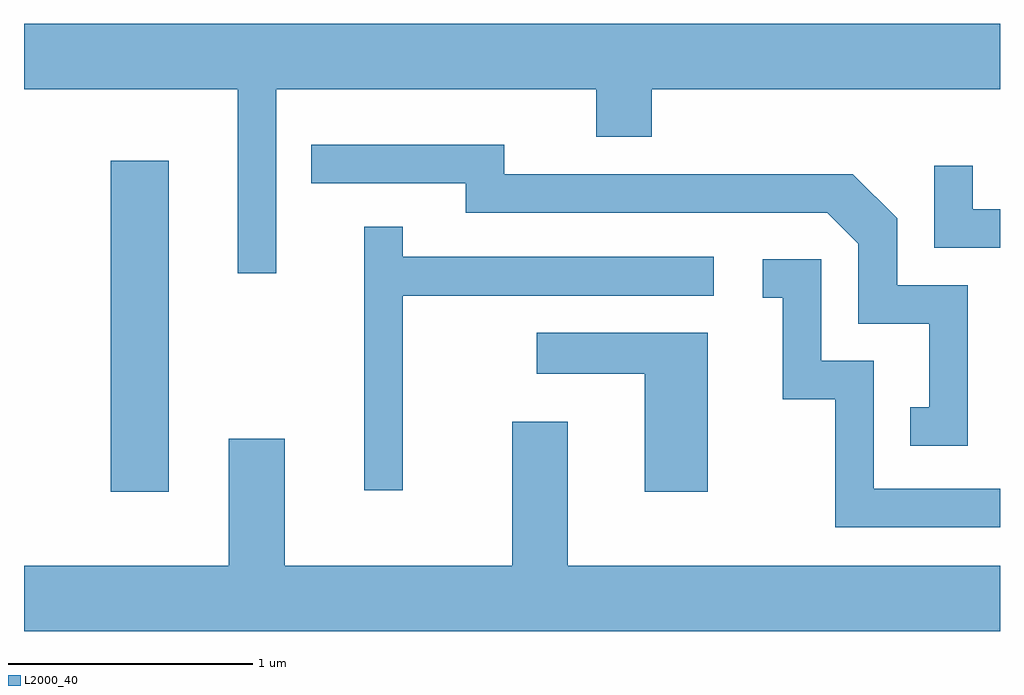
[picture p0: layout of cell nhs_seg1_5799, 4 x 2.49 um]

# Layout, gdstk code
import gdstk
lib = gdstk.Library(unit=1e-6, precision=1e-09)
def R(c, l, rs):  # rectangles x0, y0, x1, y1
    for r in rs: c.add(gdstk.rectangle(r[:2], r[2:], *l))
def P(c, l, *ps):  # polygons
    for p in ps: c.add(gdstk.Polygon(p, *l))
L2000_40 = (2000, 40)

nhs_seg1_5799 = lib.new_cell('nhs_seg1_5799')
R(nhs_seg1_5799, L2000_40, [(359.966,922.346,360.204,923.704)])
P(nhs_seg1_5799, L2000_40, [(360.644,923.996),(361.956,923.996),(361.956,923.801),(362.184,923.801),(362.184,923.996),(363.611,923.996),(363.611,924.264),(359.611,924.264),(359.611,923.996),(360.486,923.996),(360.486,923.243),(360.644,923.243)],
  [(363.479,923.194),(363.189,923.194),(363.189,923.467),(363.007,923.649),(361.579,923.649),(361.579,923.769),(360.788,923.769),(360.788,923.611),(361.421,923.611),(361.421,923.491),(362.904,923.491),(363.031,923.364),(363.031,923.036),(363.321,923.036),(363.321,922.694),(363.243,922.694),(363.243,922.536),(363.479,922.536)],
  [(363.611,923.504),(363.499,923.504),(363.499,923.683),(363.341,923.683),(363.341,923.346),(363.611,923.346)],
  [(361.164,923.151),(362.438,923.151),(362.438,923.309),(361.164,923.309),(361.164,923.433),(361.006,923.433),(361.006,922.353),(361.164,922.353)],
  [(363.611,922.359),(363.094,922.359),(363.094,922.884),(362.879,922.884),(362.879,923.299),(362.638,923.299),(362.638,923.141),(362.721,923.141),(362.721,922.726),(362.936,922.726),(362.936,922.201),(363.611,922.201)],
  [(362.414,922.999),(361.713,922.999),(361.713,922.831),(362.156,922.831),(362.156,922.346),(362.414,922.346)],
  [(363.611,922.044),(361.839,922.044),(361.839,922.634),(361.611,922.634),(361.611,922.044),(360.679,922.044),(360.679,922.564),(360.451,922.564),(360.451,922.044),(359.611,922.044),(359.611,921.776),(363.611,921.776)])

lib.write_gds('nhs_seg1_5799.gds')
